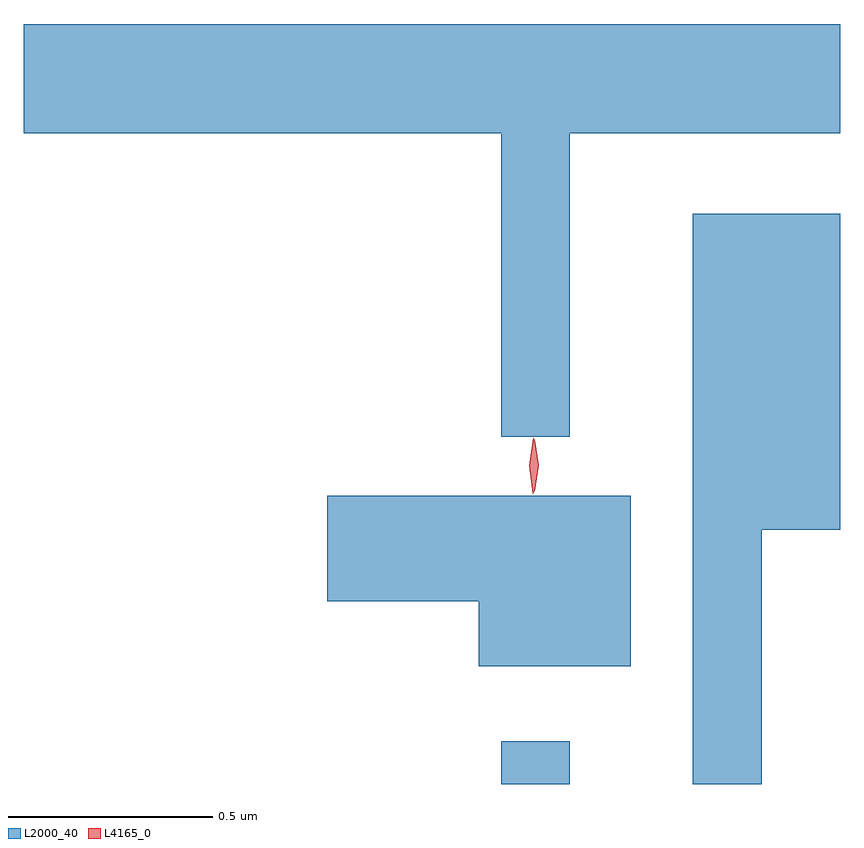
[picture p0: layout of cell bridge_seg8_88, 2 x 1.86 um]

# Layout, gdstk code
import gdstk
lib = gdstk.Library(unit=1e-6, precision=1e-09)
def R(c, l, rs):  # rectangles x0, y0, x1, y1
    for r in rs: c.add(gdstk.rectangle(r[:2], r[2:], *l))
def P(c, l, *ps):  # polygons
    for p in ps: c.add(gdstk.Polygon(p, *l))
L2000_40 = (2000, 40)
L4165_0 = (4165, 0)

bridge_seg8_88 = lib.new_cell('bridge_seg8_88')
R(bridge_seg8_88, L2000_40, [(1607.291,1854.803,1607.459,1854.908)])
P(bridge_seg8_88, L2000_40, [(1607.459,1856.396),(1608.122,1856.396),(1608.122,1856.664),(1606.122,1856.664),(1606.122,1856.396),(1607.291,1856.396),(1607.291,1855.653),(1607.459,1855.653)],
  [(1607.929,1855.426),(1608.122,1855.426),(1608.122,1856.199),(1607.761,1856.199),(1607.761,1854.803),(1607.929,1854.803)],
  [(1607.609,1855.509),(1606.866,1855.509),(1606.866,1855.251),(1607.236,1855.251),(1607.236,1855.091),(1607.609,1855.091)])
P(bridge_seg8_88, L4165_0, [(1607.372,1855.52),(1607.363,1855.583),(1607.372,1855.646),(1607.373,1855.647),(1607.373,1855.646),(1607.383,1855.583),(1607.373,1855.52),(1607.373,1855.52)],
  [(1607.369,1855.514),(1607.369,1855.514),(1607.36,1855.582),(1607.37,1855.65),(1607.371,1855.65),(1607.371,1855.65),(1607.38,1855.582),(1607.37,1855.514)])

lib.write_gds('bridge_seg8_88.gds')
